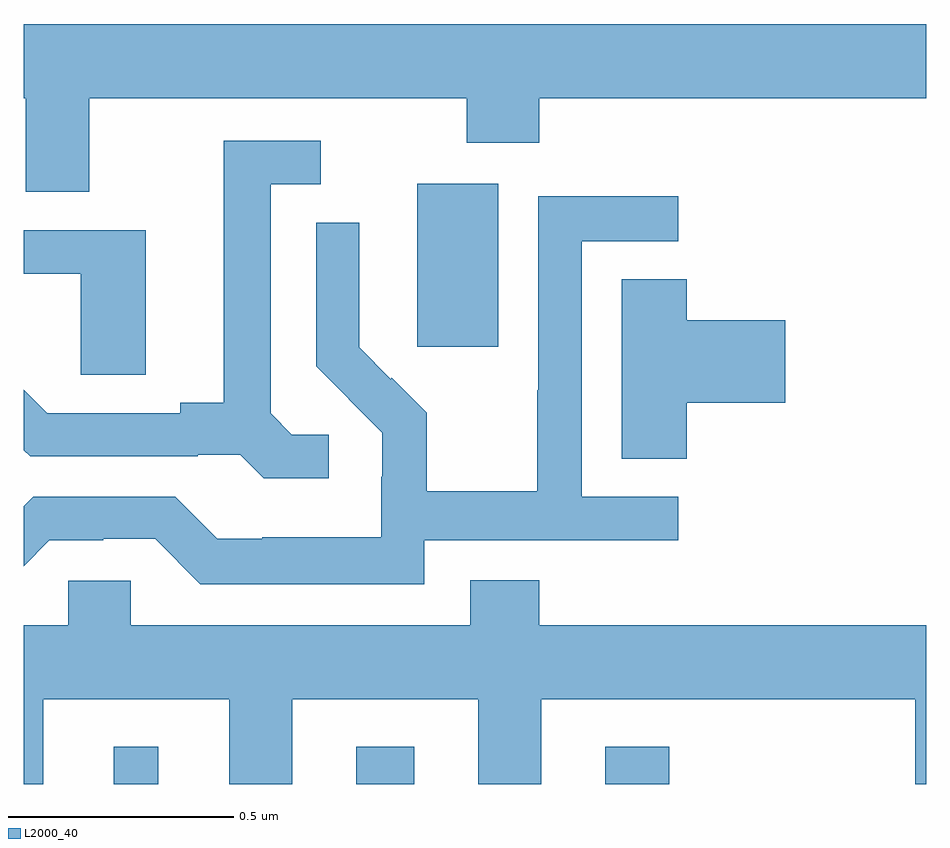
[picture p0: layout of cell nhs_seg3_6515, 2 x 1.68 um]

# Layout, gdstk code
import gdstk
lib = gdstk.Library(unit=1e-6, precision=1e-09)
def R(c, l, rs):  # rectangles x0, y0, x1, y1
    for r in rs: c.add(gdstk.rectangle(r[:2], r[2:], *l))
def P(c, l, *ps):  # polygons
    for p in ps: c.add(gdstk.Polygon(p, *l))
L2000_40 = (2000, 40)

nhs_seg3_6515 = lib.new_cell('nhs_seg3_6515')
R(nhs_seg3_6515, L2000_40, [(192.2,695.4,192.298,695.482), (192.737,695.4,192.865,695.482), (193.289,695.4,193.43,695.482), (192.872,696.369,193.051,696.73)])
P(nhs_seg3_6515, L2000_40, [(192.145,696.92),(192.982,696.92),(192.982,696.821),(193.142,696.821),(193.142,696.92),(194,696.92),(194,697.084),(192,697.084),(192,696.92),(192.005,696.92),(192.005,696.712),(192.145,696.712)],
  [(192.676,696.174),(192.594,696.174),(192.547,696.221),(192.547,696.729),(192.658,696.729),(192.658,696.825),(192.443,696.825),(192.443,696.245),(192.347,696.245),(192.347,696.222),(192.052,696.222),(192,696.274),(192,696.14),(192.014,696.126),(192.386,696.126),(192.386,696.129),(192.48,696.129),(192.532,696.077),(192.676,696.077)],
  [(192.888,695.94),(193.45,695.94),(193.45,696.036),(193.236,696.036),(193.236,696.603),(193.45,696.603),(193.45,696.702),(193.14,696.702),(193.14,696.272),(193.138,696.272),(193.138,696.049),(192.893,696.049),(192.893,696.223),(192.816,696.3),(192.813,696.297),(192.743,696.368),(192.743,696.49),(192.744,696.49),(192.744,696.644),(192.648,696.644),(192.648,696.326),(192.721,696.253),(192.72,696.252),(192.794,696.178),(192.794,696.081),(192.792,696.081),(192.792,695.947),(192.529,695.947),(192.529,695.943),(192.429,695.943),(192.336,696.036),(192.021,696.036),(192,696.015),(192,695.883),(192.057,695.94),(192.176,695.94),(192.176,695.943),(192.291,695.943),(192.391,695.843),(192.888,695.843)],
  [(192.271,696.627),(192,696.627),(192,696.531),(192.126,696.531),(192.126,696.307),(192.271,696.307)],
  [(193.469,696.245),(193.687,696.245),(193.687,696.428),(193.469,696.428),(193.469,696.518),(193.325,696.518),(193.325,696.121),(193.469,696.121)],
  [(192.043,695.588),(192.455,695.588),(192.455,695.4),(192.595,695.4),(192.595,695.588),(193.007,695.588),(193.007,695.4),(193.147,695.4),(193.147,695.588),(193.976,695.588),(193.976,695.4),(194,695.4),(194,695.752),(193.142,695.752),(193.142,695.851),(192.989,695.851),(192.989,695.752),(192.237,695.752),(192.237,695.85),(192.099,695.85),(192.099,695.752),(192,695.752),(192,695.4),(192.043,695.4)])

lib.write_gds('nhs_seg3_6515.gds')
